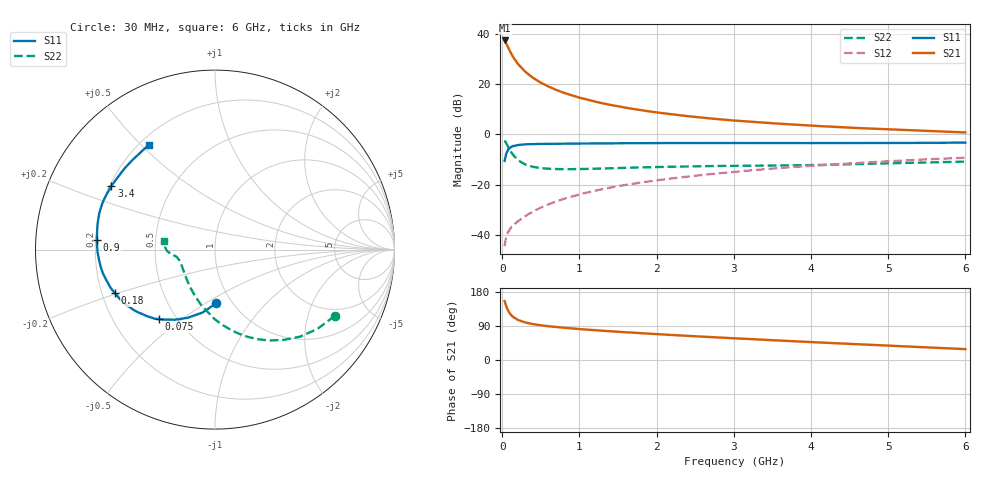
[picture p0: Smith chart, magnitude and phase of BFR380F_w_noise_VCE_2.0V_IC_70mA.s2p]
! Infineon Technologies  Discrete & RF Semiconductors
! BFR380F
! VCE =  2.0 V,  IC =  70 mA
! Common Emitter S-Parameters:  Nov 2015
# GHz  S  MA  R  50
!  f  S11  S21  S12  S22
! GHz  MAG  ANG  MAG  ANG  MAG  ANG  MAG  ANG
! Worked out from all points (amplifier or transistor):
!   206 points, 30 MHz to 6 GHz, reference 50 ohm
!   highest |S21| = 37.3 dB at 30 MHz (marker M1)
!   |S21| within 3 dB of that: start of sweep to 78.87 MHz
!   unconditionally stable (mu >= 1): 572.8 MHz to 5.089 GHz
!   at 200 MHz: K = 0.75, MSG = 31.3 dB, |S12| = -34.5 dB
!   at 1.56 GHz: K = 1.06, MAG = 14.0 dB, |S12| = -20.2 dB
!   at 6 GHz: K = 0.99, MSG = 5.0 dB, |S12| = -9.2 dB
!   lowest NFmin = 1.81 dB at 900 MHz
!   S11 on the Smith chart (normalised r, x): 30 MHz: 0.85, -0.56; 75 MHz: 0.40, -0.41; 180 MHz: 0.25, -0.19; 900 MHz: 0.20, +0.04; 3.4 GHz: 0.21, +0.27; 6 GHz: 0.24, +0.53
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0.03  0.299 -88.5  73.27 155.6  0.0061 74.2  0.7625 -29.0
0.04  0.3571 -101.1  68.97 148.7  0.0077 69.2  0.7216 -37.8
0.05  0.4086 -111.7  64.48 142.2  0.0092 66.5  0.6781 -45.7
0.07  0.4825 -126.1  55.38 132.3  0.0112 60.5  0.5905 -59.0
0.075  0.4963 -128.7  53.38 130.6  0.0115 59.8  0.571 -61.7
0.1  0.5466 -139.4  44.5 122.3  0.0134 57.9  0.4874 -74.1
0.12  0.5714 -145.5  39 117.5  0.0147 56.5  0.4356 -82.1
0.15  0.596 -152.1  32.64 112.1  0.0162 56.7  0.378 -91.9
0.18  0.6084 -156.7  28.23 108.8  0.0178 57.8  0.3388 -98.9
0.2  0.6187 -159.6  25.36 105.9  0.0188 58.5  0.316 -104.5
0.26  0.6309 -165.1  20.07 101.4  0.022 61.3  0.2731 -115.7
0.3  0.638 -167.9  17.45 98.9  0.0242 63.1  0.2543 -122.1
0.4  0.6456 -172.8  13.23 94.6  0.0297 66.3  0.2283 -133.7
0.6  0.6548 -178.8  8.896 88.9  0.0413 70.2  0.2093 -148.3
0.9  0.6602 175.5  5.964 83.3  0.059 72.6  0.2056 -159.4
1.04  0.6624 173.2  5.179 81.0  0.0673 73.0  0.2069 -162.6
2.02  0.6766 161.6  2.717 68.1  0.1246 71.8  0.2265 -171.2
3.1  0.6773 151.5  1.847 56.4  0.1872 67.9  0.2398 -173.4
3.4  0.6768 148.5  1.71 53.3  0.205 66.6  0.2417 -173.6
4.1  0.6756 141.6  1.471 46.3  0.2449 63.0  0.2481 -174.5
5.1  0.6788 132.1  1.247 37.0  0.3 57.7  0.2703 -179.5
6  0.6905 122.2  1.098 28.6  0.3454 52.0  0.2897 170.4
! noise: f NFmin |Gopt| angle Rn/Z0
0.45  1.82  0.48  -174  0.08
0.9  1.81  0.5  -171  0.08
1.8  2.07  0.53  -159  0.11
1.9  2.18  0.54  -159  0.11
2.4  2.25  0.55  -150  0.15
3.5  2.95  0.58  -140  0.28
